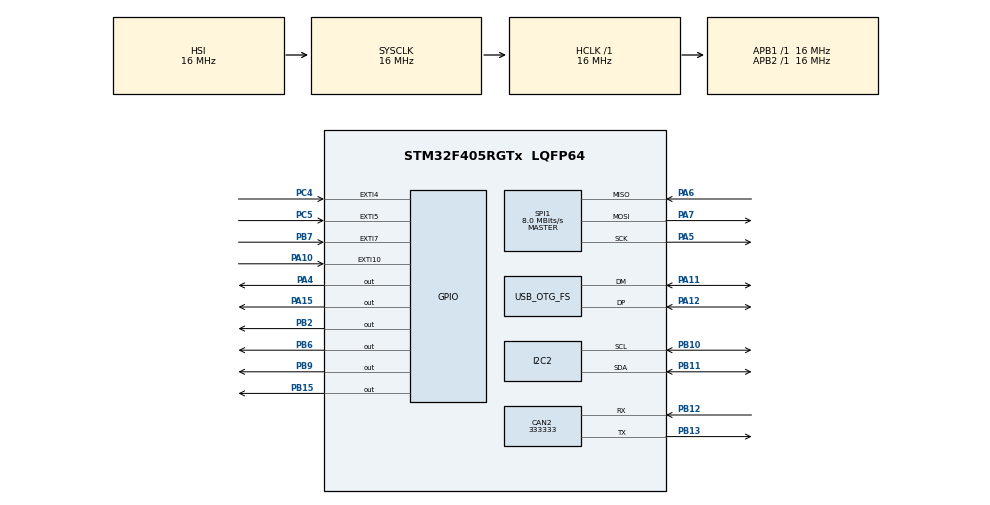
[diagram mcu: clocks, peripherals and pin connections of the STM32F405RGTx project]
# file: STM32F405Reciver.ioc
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CAN2.CalculateBaudRate=333333
CAN2.CalculateTimeBit=3000
CAN2.CalculateTimeQuantum=1000.0
Mcu.Family=STM32F4
Mcu.Name=STM32F405RGTx
Mcu.Package=LQFP64
NVIC.EXTI15_10_IRQn=true\:0\:0\:false\:false\:true\:true\:true\:true
NVIC.OTG_FS_IRQn=true\:0\:0\:false\:false\:true\:false\:true\:true
NVIC.PriorityGroup=NVIC_PRIORITYGROUP_4
PA10.Signal=GPXTI10
PA11.Mode=Device_Only
PA11.Signal=USB_OTG_FS_DM
PA12.Mode=Device_Only
PA12.Signal=USB_OTG_FS_DP
PA13.Signal=SYS_JTMS-SWDIO
PA14.Signal=SYS_JTCK-SWCLK
PA15.Signal=GPIO_Output
PA4.Signal=GPIO_Output
PA5.Mode=Full_Duplex_Master
PA5.Signal=SPI1_SCK
PA6.Mode=Full_Duplex_Master
PA6.Signal=SPI1_MISO
PA7.Mode=Full_Duplex_Master
PA7.Signal=SPI1_MOSI
PB10.Mode=I2C
PB10.Signal=I2C2_SCL
PB11.Mode=I2C
PB11.Signal=I2C2_SDA
PB12.Mode=CAN_Activate
PB12.Signal=CAN2_RX
PB13.Mode=CAN_Activate
PB13.Signal=CAN2_TX
PB15.Signal=GPIO_Output
PB2.Signal=GPIO_Output
PB3.Signal=SYS_JTDO-SWO
PB6.Signal=GPIO_Output
PB7.Signal=GPXTI7
PB9.Signal=GPIO_Output
PC4.Signal=GPXTI4
PC5.Signal=GPXTI5
PH0-OSC_IN.Mode=HSE-External-Oscillator
PH0-OSC_IN.Signal=RCC_OSC_IN
PH1-OSC_OUT.Mode=HSE-External-Oscillator
PH1-OSC_OUT.Signal=RCC_OSC_OUT
ProjectManager.HeapSize=0x200
ProjectManager.StackSize=0x400
ProjectManager.TargetToolchain=STM32CubeIDE
RCC.48MHZClocksFreq_Value=48000000
RCC.AHBFreq_Value=16000000
RCC.APB1Freq_Value=16000000
RCC.APB2Freq_Value=16000000
RCC.CortexFreq_Value=16000000
RCC.HSE_VALUE=12000000
RCC.HSI_VALUE=16000000
RCC.LSE_VALUE=32768
RCC.PLLM=6
RCC.PLLN=168
RCC.PLLQ=7
RCC.SYSCLKFreq_VALUE=16000000
RCC.VCOOutputFreq_Value=336000000
SPI1.BaudRatePrescaler=SPI_BAUDRATEPRESCALER_2
SPI1.CalculateBaudRate=8.0 MBits/s
SPI1.Direction=SPI_DIRECTION_2LINES
SPI1.Mode=SPI_MODE_MASTER
SPI1.VirtualType=VM_MASTER
TIM3.Prescaler=1600
USB_DEVICE.CLASS_NAME_FS=CDC
USB_DEVICE.VirtualMode-CDC_FS=Cdc
USB_DEVICE.VirtualModeFS=Cdc_FS
USB_OTG_FS.VirtualMode=Device_Only
VP_TIM3_VS_ClockSourceINT.Mode=Internal
VP_USB_DEVICE_VS_USB_DEVICE_CDC_FS.Mode=CDC_FS
board=custom

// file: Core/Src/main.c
/* USER CODE BEGIN Header */
/**
  ******************************************************************************
  * @file           : main.c
  * @brief          : Main program body
  ******************************************************************************
  * @attention
  *
  * Copyright (c) 2025 STMicroelectronics.
  * All rights reserved.
  *
  * This software is licensed under terms that can be found in the LICENSE file
  * in the root directory of this software component.
  * If no LICENSE file comes with this software, it is provided AS-IS.
  *
  ******************************************************************************
  */
/* USER CODE END Header */
#include "main.h"
#include "usb_device.h"

/* USER CODE BEGIN Includes */
#include <stdint.h>

#include "console.h"
#include "rfm95.h"

/* USER CODE END Includes */

/* USER CODE BEGIN PD */
#define 	LED_TOGGLE_DT		5000
/* USER CODE END PD */

CAN_HandleTypeDef hcan2;

I2C_HandleTypeDef hi2c2;

SPI_HandleTypeDef hspi1;

TIM_HandleTypeDef htim3;

/* USER CODE BEGIN PV */
//uint8_t general[87]; //packet to send
/* USER CODE END PV */

void SystemClock_Config(void);
static void MX_GPIO_Init(void);
static void MX_I2C2_Init(void);
static void MX_SPI1_Init(void);
static void MX_CAN2_Init(void);
static void MX_TIM3_Init(void);

int main(void)
{

  /* USER CODE BEGIN 1 */
  uint16_t timer_val;
  uint16_t timer_diff;
  /* USER CODE END 1 */

  /* MCU Configuration--------------------------------------------------------*/

  /* Reset of all peripherals, Initializes the Flash interface and the Systick. */
  HAL_Init();

  /* Configure the system clock */
  SystemClock_Config();

  /* Initialize all configured peripherals */
  MX_GPIO_Init();
  MX_I2C2_Init();
  MX_SPI1_Init();
  MX_CAN2_Init();
  MX_TIM3_Init();
  MX_USB_DEVICE_Init();
  /* USER CODE BEGIN 2 */

  // Initialize RFM95 chip
  RFM95_Init( &hspi1, GPIOA, GPIO_PIN_4 );

  // Start Timer3
  HAL_TIM_Base_Start( &htim3 );
  timer_val = __HAL_TIM_GET_COUNTER( &htim3 );

  /* USER CODE END 2 */

  /* Infinite loop */
  while ( 1 )
  {

    /* USER CODE BEGIN 3 */

	// Non-blocking LED toggle every 500ms
	timer_diff = ( ( __HAL_TIM_GET_COUNTER( &htim3 ) - timer_val ) + TIMER3_LIMIT ) % TIMER3_LIMIT;

    if( timer_diff >= LED_TOGGLE_DT )
	{
    	HAL_GPIO_TogglePin( GPIOB, GPIO_PIN_6 );
		timer_val = __HAL_TIM_GET_COUNTER( &htim3 );
		RFM95_ReadVersion();
		//CONSOLE_Printf( "LED toggle\r\n" );
	}
  }
  /* USER CODE END 3 */
}

void SystemClock_Config(void)
{
  RCC_OscInitTypeDef RCC_OscInitStruct = {0};
  RCC_ClkInitTypeDef RCC_ClkInitStruct = {0};

  /** Configure the main internal regulator output voltage
  */
  __HAL_RCC_PWR_CLK_ENABLE();
  __HAL_PWR_VOLTAGESCALING_CONFIG(PWR_REGULATOR_VOLTAGE_SCALE1);

  /** Initializes the RCC Oscillators according to the specified parameters
  * in the RCC_OscInitTypeDef structure.
  */
  RCC_OscInitStruct.OscillatorType = RCC_OSCILLATORTYPE_HSI|RCC_OSCILLATORTYPE_HSE;
  RCC_OscInitStruct.HSEState = RCC_HSE_ON;
  RCC_OscInitStruct.HSIState = RCC_HSI_ON;
  RCC_OscInitStruct.HSICalibrationValue = RCC_HSICALIBRATION_DEFAULT;
  RCC_OscInitStruct.PLL.PLLState = RCC_PLL_ON;
  RCC_OscInitStruct.PLL.PLLSource = RCC_PLLSOURCE_HSE;
  RCC_OscInitStruct.PLL.PLLM = 6;
  RCC_OscInitStruct.PLL.PLLN = 168;
  RCC_OscInitStruct.PLL.PLLP = RCC_PLLP_DIV2;
  RCC_OscInitStruct.PLL.PLLQ = 7;
  if (HAL_RCC_OscConfig(&RCC_OscInitStruct) != HAL_OK)
  {
    Error_Handler();
  }

  /** Initializes the CPU, AHB and APB buses clocks
  */
  RCC_ClkInitStruct.ClockType = RCC_CLOCKTYPE_HCLK|RCC_CLOCKTYPE_SYSCLK
                              |RCC_CLOCKTYPE_PCLK1|RCC_CLOCKTYPE_PCLK2;
  RCC_ClkInitStruct.SYSCLKSource = RCC_SYSCLKSOURCE_HSI;
  RCC_ClkInitStruct.AHBCLKDivider = RCC_SYSCLK_DIV1;
  RCC_ClkInitStruct.APB1CLKDivider = RCC_HCLK_DIV1;
  RCC_ClkInitStruct.APB2CLKDivider = RCC_HCLK_DIV1;

  if (HAL_RCC_ClockConfig(&RCC_ClkInitStruct, FLASH_LATENCY_0) != HAL_OK)
  {
    Error_Handler();
  }
}

static void MX_CAN2_Init(void)
{

  hcan2.Instance = CAN2;
  hcan2.Init.Prescaler = 16;
  hcan2.Init.Mode = CAN_MODE_NORMAL;
  hcan2.Init.SyncJumpWidth = CAN_SJW_1TQ;
  hcan2.Init.TimeSeg1 = CAN_BS1_1TQ;
  hcan2.Init.TimeSeg2 = CAN_BS2_1TQ;
  hcan2.Init.TimeTriggeredMode = DISABLE;
  hcan2.Init.AutoBusOff = DISABLE;
  hcan2.Init.AutoWakeUp = DISABLE;
  hcan2.Init.AutoRetransmission = DISABLE;
  hcan2.Init.ReceiveFifoLocked = DISABLE;
  hcan2.Init.TransmitFifoPriority = DISABLE;
  if (HAL_CAN_Init(&hcan2) != HAL_OK)
  {
    Error_Handler();
  }

}

static void MX_I2C2_Init(void)
{

  hi2c2.Instance = I2C2;
  hi2c2.Init.ClockSpeed = 100000;
  hi2c2.Init.DutyCycle = I2C_DUTYCYCLE_2;
  hi2c2.Init.OwnAddress1 = 0;
  hi2c2.Init.AddressingMode = I2C_ADDRESSINGMODE_7BIT;
  hi2c2.Init.DualAddressMode = I2C_DUALADDRESS_DISABLE;
  hi2c2.Init.OwnAddress2 = 0;
  hi2c2.Init.GeneralCallMode = I2C_GENERALCALL_DISABLE;
  hi2c2.Init.NoStretchMode = I2C_NOSTRETCH_DISABLE;
  if (HAL_I2C_Init(&hi2c2) != HAL_OK)
  {
    Error_Handler();
  }

}

static void MX_SPI1_Init(void)
{

  /* SPI1 parameter configuration*/
  hspi1.Instance = SPI1;
  hspi1.Init.Mode = SPI_MODE_MASTER;
  hspi1.Init.Direction = SPI_DIRECTION_2LINES;
  hspi1.Init.DataSize = SPI_DATASIZE_8BIT;
  hspi1.Init.CLKPolarity = SPI_POLARITY_LOW;
  hspi1.Init.CLKPhase = SPI_PHASE_1EDGE;
  hspi1.Init.NSS = SPI_NSS_SOFT;
  hspi1.Init.BaudRatePrescaler = SPI_BAUDRATEPRESCALER_2;
  hspi1.Init.FirstBit = SPI_FIRSTBIT_MSB;
  hspi1.Init.TIMode = SPI_TIMODE_DISABLE;
  hspi1.Init.CRCCalculation = SPI_CRCCALCULATION_DISABLE;
  hspi1.Init.CRCPolynomial = 10;
  if (HAL_SPI_Init(&hspi1) != HAL_OK)
  {
    Error_Handler();
  }

}

static void MX_TIM3_Init(void)
{

  TIM_ClockConfigTypeDef sClockSourceConfig = {0};
  TIM_MasterConfigTypeDef sMasterConfig = {0};

  htim3.Instance = TIM3;
  htim3.Init.Prescaler = 1600;
  htim3.Init.CounterMode = TIM_COUNTERMODE_UP;
  htim3.Init.Period = 65535;
  htim3.Init.ClockDivision = TIM_CLOCKDIVISION_DIV1;
  htim3.Init.AutoReloadPreload = TIM_AUTORELOAD_PRELOAD_DISABLE;
  if (HAL_TIM_Base_Init(&htim3) != HAL_OK)
  {
    Error_Handler();
  }
  sClockSourceConfig.ClockSource = TIM_CLOCKSOURCE_INTERNAL;
  if (HAL_TIM_ConfigClockSource(&htim3, &sClockSourceConfig) != HAL_OK)
  {
    Error_Handler();
  }
  sMasterConfig.MasterOutputTrigger = TIM_TRGO_RESET;
  sMasterConfig.MasterSlaveMode = TIM_MASTERSLAVEMODE_DISABLE;
  if (HAL_TIMEx_MasterConfigSynchronization(&htim3, &sMasterConfig) != HAL_OK)
  {
    Error_Handler();
  }

}

static void MX_GPIO_Init(void)
{
  GPIO_InitTypeDef GPIO_InitStruct = {0};

  /* GPIO Ports Clock Enable */
  __HAL_RCC_GPIOH_CLK_ENABLE();
  __HAL_RCC_GPIOA_CLK_ENABLE();
  __HAL_RCC_GPIOC_CLK_ENABLE();
  __HAL_RCC_GPIOB_CLK_ENABLE();

  /*Configure GPIO pin Output Level */
  HAL_GPIO_WritePin(GPIOA, GPIO_PIN_4|GPIO_PIN_15, GPIO_PIN_RESET);

  /*Configure GPIO pin Output Level */
  HAL_GPIO_WritePin(GPIOB, GPIO_PIN_2|GPIO_PIN_15|GPIO_PIN_6|GPIO_PIN_9, GPIO_PIN_RESET);

  /*Configure GPIO pins : PA4 PA15 */
  GPIO_InitStruct.Pin = GPIO_PIN_4|GPIO_PIN_15;
  GPIO_InitStruct.Mode = GPIO_MODE_OUTPUT_PP;
  GPIO_InitStruct.Pull = GPIO_NOPULL;
  GPIO_InitStruct.Speed = GPIO_SPEED_FREQ_LOW;
  HAL_GPIO_Init(GPIOA, &GPIO_InitStruct);

  /*Configure GPIO pins : PC4 PC5 */
  GPIO_InitStruct.Pin = GPIO_PIN_4|GPIO_PIN_5;
  GPIO_InitStruct.Mode = GPIO_MODE_IT_RISING;
  GPIO_InitStruct.Pull = GPIO_NOPULL;
  HAL_GPIO_Init(GPIOC, &GPIO_InitStruct);

  /*Configure GPIO pins : PB2 PB15 PB6 PB9 */
  GPIO_InitStruct.Pin = GPIO_PIN_2|GPIO_PIN_15|GPIO_PIN_6|GPIO_PIN_9;
  GPIO_InitStruct.Mode = GPIO_MODE_OUTPUT_PP;
  GPIO_InitStruct.Pull = GPIO_NOPULL;
  GPIO_InitStruct.Speed = GPIO_SPEED_FREQ_LOW;
  HAL_GPIO_Init(GPIOB, &GPIO_InitStruct);

  /*Configure GPIO pin : PA10 */
  GPIO_InitStruct.Pin = GPIO_PIN_10;
  GPIO_InitStruct.Mode = GPIO_MODE_IT_RISING;
  GPIO_InitStruct.Pull = GPIO_NOPULL;
  HAL_GPIO_Init(GPIOA, &GPIO_InitStruct);

  /*Configure GPIO pin : PB7 */
  GPIO_InitStruct.Pin = GPIO_PIN_7;
  GPIO_InitStruct.Mode = GPIO_MODE_IT_RISING;
  GPIO_InitStruct.Pull = GPIO_NOPULL;
  HAL_GPIO_Init(GPIOB, &GPIO_InitStruct);

  /* EXTI interrupt init*/
  HAL_NVIC_SetPriority(EXTI15_10_IRQn, 0, 0);
  HAL_NVIC_EnableIRQ(EXTI15_10_IRQn);

}

/* USER CODE BEGIN 4 */
void HAL_GPIO_EXTI_Callback( uint16_t GPIO_Pin )
{
    if ( GPIO_Pin == RFM95_DIO0_PIN )
    {
    	RFM95_InterruptCallbackG0();
    }
}
/* USER CODE END 4 */

void Error_Handler(void)
{
  __disable_irq();
  while (1)
  {
  }
}
